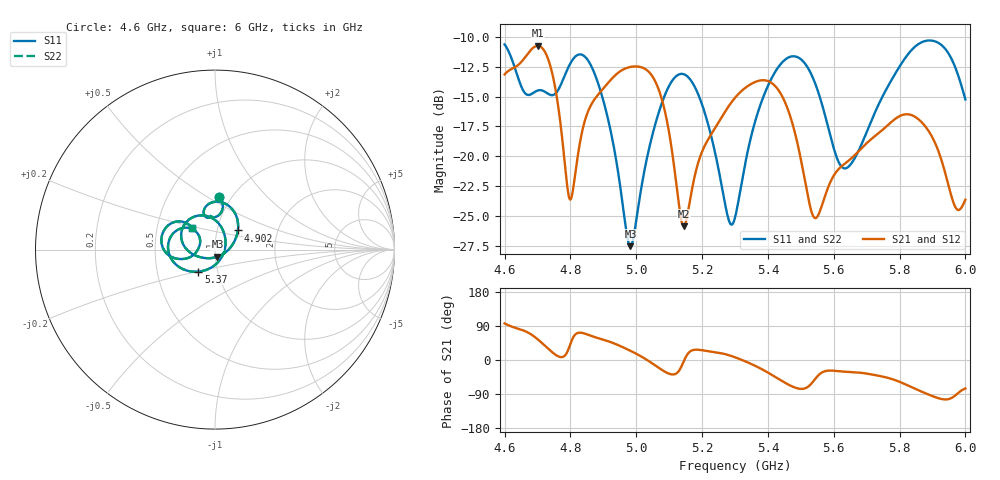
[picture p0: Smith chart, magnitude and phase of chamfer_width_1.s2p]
! TOUCHSTONE file generated by CST MICROWAVE STUDIO
! Date and time: Sun Dec  1 17:26:31 2024
! Project name: test_tuning.cst
! Parameters = {airCoaxOuterDiameter=3; chamferAngle=45; chamferWidth=2; connectorLength=10; drillingHoleDiameter=4.1; feedLength=60; flareDiameter=130; flareLength=70; gratingDistance=0; gratingGap=1.90274; outletLength=30; polarizerLength=134; probe1Diameter=1.3; probe1Distance=14; probe1Length=12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
! Header version: 2024
! Port assignment regex: !\s*Touchstone port\s*([0-9]+)\s*=\s*(CST MWS port|CST DES external port|CST DES block port)\s*(.+)\s* \(\"(.*)\"\)(\s*mode\s*([0-9]+))?.*
! Touchstone port assignment:
! Touchstone port 1 = CST MWS port 1 ("Input1")
! Touchstone port 2 = CST MWS port 2 ("Input2")
# GHz S MA R 50
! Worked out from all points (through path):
!   1001 points, 4.6 GHz to 6 GHz, reference 50 ohm
!   highest |S21| = -10.74 dB at 4.701 GHz (marker M1); lowest = -25.9 dB at 5.145 GHz (marker M2)
!   lowest |S11| = -27.5 dB at 4.982 GHz (marker M3), VSWR 1.09, Z = 51.2 - j4.08 ohm
!   |S11| at or under -10 dB: start of sweep to end of sweep
!   |S22| runs from -27.5 to -10.3 dB; largest |S21 - S12| = 4.2e-07
!   S11 on the Smith chart (normalised r, x): 4.6 GHz: 0.88, +0.56; 4.902 GHz: 1.26, +0.28; 5.37 GHz: 0.81, -0.20; 6 GHz: 0.76, +0.18
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4.6  0.2944 85.8  0.2202 96.6  0.2202 96.6  0.2944 85.8
4.6602  0.1853 86.6  0.2578 76.9  0.2578 76.9  0.1853 86.6
4.7008  0.1887 97.2  0.2904 54.4  0.2904 54.4  0.1887 97.2
4.7484  0.1808 102.4  0.2113 17.8  0.2113 17.8  0.1808 102.4
4.7974  0.2417 103.0  0.06632 36.3  0.06632 36.3  0.2417 103.0
4.8338  0.2668 83.4  0.1237 71.8  0.1237 71.8  0.2668 83.4
4.9024  0.1663 40.0  0.1942 52.9  0.1942 52.9  0.1663 40.0
4.9822  0.04201 -71.4  0.2368 24.3  0.2368 24.3  0.04201 -71.4
5.0676  0.1516 -178.0  0.1914 -20.2  0.1914 -20.2  0.1516 -178.0
5.1446  0.2208 129.5  0.05084 -2.8  0.05084 -2.8  0.2208 129.5
5.1992  0.1658 90.3  0.104 25.9  0.104 25.9  0.1658 90.3
5.279  0.05528 5.1  0.1608 13.3  0.1608 13.3  0.05528 5.1
5.3  0.05534 -45.9  0.1759 7.2  0.1759 7.2  0.05534 -45.9
5.37  0.1535 -126.9  0.2069 -19.1  0.2069 -19.1  0.1535 -126.9
5.4554  0.256 -173.6  0.1641 -61.7  0.1641 -61.7  0.256 -173.6
5.5338  0.2177 146.5  0.05781 -60.6  0.05781 -60.6  0.2177 146.5
5.6332  0.08897 164.1  0.09307 -30.9  0.09307 -30.9  0.08897 164.1
5.7676  0.1998 -164.7  0.1363 -47.9  0.1363 -47.9  0.1998 -164.7
5.8334  0.2758 -176.9  0.1492 -70.5  0.1492 -70.5  0.2758 -176.9
5.8992  0.3052 161.9  0.1203 -95.1  0.1203 -95.1  0.3052 161.9
5.9692  0.2359 139.0  0.06133 -93.7  0.06133 -93.7  0.2359 139.0
6  0.173 137.0  0.06582 -75.2  0.06582 -75.2  0.173 137.0
